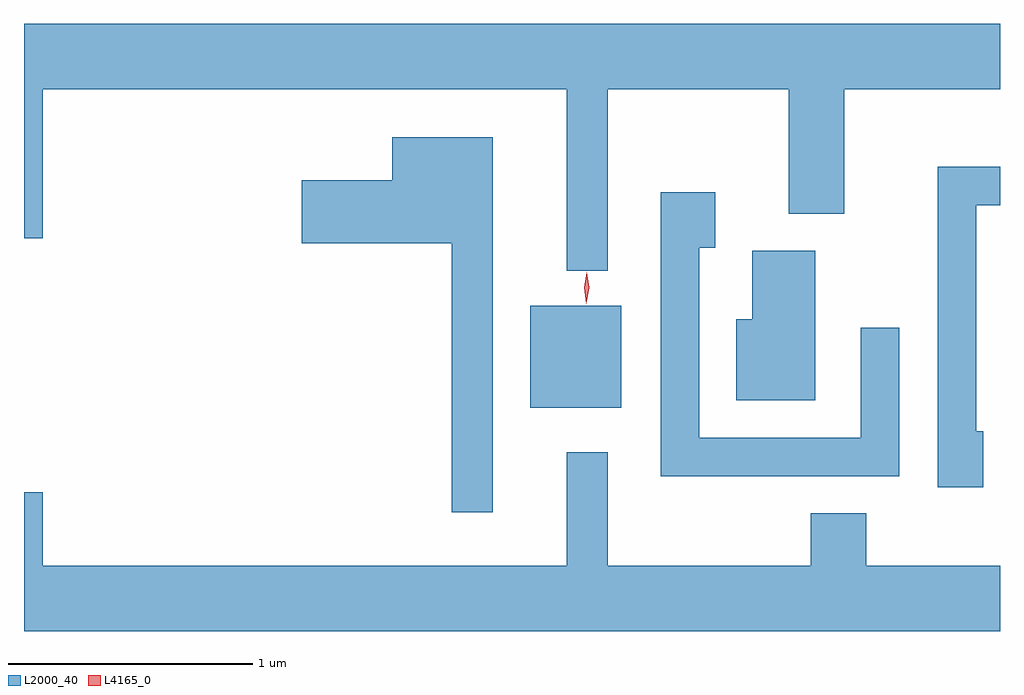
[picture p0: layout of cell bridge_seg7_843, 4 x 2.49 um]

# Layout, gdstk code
import gdstk
lib = gdstk.Library(unit=1e-6, precision=1e-09)
def R(c, l, rs):  # rectangles x0, y0, x1, y1
    for r in rs: c.add(gdstk.rectangle(r[:2], r[2:], *l))
def P(c, l, *ps):  # polygons
    for p in ps: c.add(gdstk.Polygon(p, *l))
L2000_40 = (2000, 40)
L4165_0 = (4165, 0)

bridge_seg7_843 = lib.new_cell('bridge_seg7_843')
R(bridge_seg7_843, L2000_40, [(297.261,1726.331,297.634,1726.749)])
P(bridge_seg7_843, L2000_40, [(297.579,1727.636),(298.321,1727.636),(298.321,1727.126),(298.549,1727.126),(298.549,1727.636),(299.187,1727.636),(299.187,1727.904),(295.187,1727.904),(295.187,1727.026),(295.264,1727.026),(295.264,1727.636),(297.411,1727.636),(297.411,1726.893),(297.579,1726.893)],
  [(297.109,1727.439),(296.696,1727.439),(296.696,1727.264),(296.326,1727.264),(296.326,1727.006),(296.941,1727.006),(296.941,1725.903),(297.109,1725.903)],
  [(299.119,1726.234),(299.089,1726.234),(299.089,1727.161),(299.187,1727.161),(299.187,1727.319),(298.931,1727.319),(298.931,1726.006),(299.119,1726.006)],
  [(298.774,1726.658),(298.616,1726.658),(298.616,1726.209),(297.954,1726.209),(297.954,1726.986),(298.019,1726.986),(298.019,1727.214),(297.796,1727.214),(297.796,1726.051),(298.774,1726.051)],
  [(298.429,1726.974),(298.171,1726.974),(298.171,1726.694),(298.106,1726.694),(298.106,1726.361),(298.429,1726.361)],
  [(299.187,1725.684),(298.639,1725.684),(298.639,1725.899),(298.411,1725.899),(298.411,1725.684),(297.579,1725.684),(297.579,1726.148),(297.411,1726.148),(297.411,1725.684),(295.264,1725.684),(295.264,1725.984),(295.187,1725.984),(295.187,1725.416),(299.187,1725.416)])
P(bridge_seg7_843, L4165_0, [(297.492,1726.758),(297.491,1726.759),(297.483,1726.823),(297.493,1726.887),(297.494,1726.887),(297.494,1726.887),(297.503,1726.823),(297.492,1726.759)])

lib.write_gds('bridge_seg7_843.gds')
